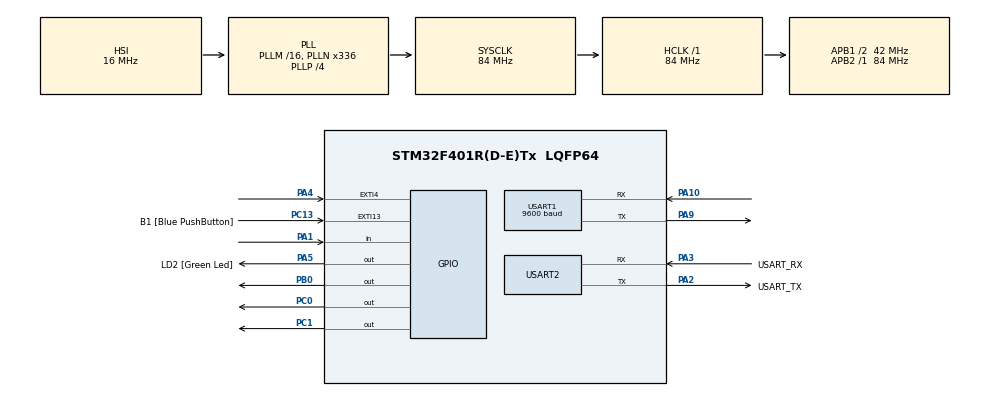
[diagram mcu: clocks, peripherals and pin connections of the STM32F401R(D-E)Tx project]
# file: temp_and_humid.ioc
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Mcu.Family=STM32F4
Mcu.Name=STM32F401R(D-E)Tx
Mcu.Package=LQFP64
NVIC.EXTI4_IRQn=true\:1\:0\:true\:false\:true\:true\:true\:true
NVIC.PriorityGroup=NVIC_PRIORITYGROUP_2
NVIC.USART1_IRQn=true\:2\:0\:true\:false\:true\:true\:true\:true
PA1.Signal=GPIO_Input
PA10.GPIO_Speed=GPIO_SPEED_FREQ_VERY_HIGH
PA10.Mode=Asynchronous
PA10.Signal=USART1_RX
PA13.GPIO_Label=TMS
PA13.Mode=Serial_Wire
PA13.Signal=SYS_JTMS-SWDIO
PA14.GPIO_Label=TCK
PA14.Mode=Serial_Wire
PA14.Signal=SYS_JTCK-SWCLK
PA2.GPIO_Label=USART_TX
PA2.GPIO_Mode=GPIO_MODE_AF_PP
PA2.GPIO_PuPd=GPIO_NOPULL
PA2.GPIO_Speed=GPIO_SPEED_FREQ_LOW
PA2.Mode=Asynchronous
PA2.Signal=USART2_TX
PA3.GPIO_Label=USART_RX
PA3.GPIO_Mode=GPIO_MODE_AF_PP
PA3.GPIO_PuPd=GPIO_NOPULL
PA3.GPIO_Speed=GPIO_SPEED_FREQ_LOW
PA3.Mode=Asynchronous
PA3.Signal=USART2_RX
PA4.Signal=GPXTI4
PA5.GPIO_Label=LD2 [Green Led]
PA5.GPIO_Mode=GPIO_MODE_OUTPUT_PP
PA5.GPIO_PuPd=GPIO_NOPULL
PA5.GPIO_Speed=GPIO_SPEED_FREQ_LOW
PA5.Signal=GPIO_Output
PA9.GPIO_Speed=GPIO_SPEED_FREQ_LOW
PA9.Mode=Asynchronous
PA9.Signal=USART1_TX
PB0.Signal=GPIO_Output
PB3.GPIO_Label=SWO
PB3.Signal=SYS_JTDO-SWO
PC0.Signal=GPIO_Output
PC1.Signal=GPIO_Output
PC13-ANTI_TAMP.GPIO_Label=B1 [Blue PushButton]
PC13-ANTI_TAMP.GPIO_ModeDefaultEXTI=GPIO_MODE_IT_FALLING
PC13-ANTI_TAMP.GPIO_PuPd=GPIO_NOPULL
PC13-ANTI_TAMP.Signal=GPXTI13
PC14-OSC32_IN.Mode=LSE-External-Oscillator
PC14-OSC32_IN.Signal=RCC_OSC32_IN
PC15-OSC32_OUT.Mode=LSE-External-Oscillator
PC15-OSC32_OUT.Signal=RCC_OSC32_OUT
PH0\ -\ OSC_IN.Mode=HSE-External-Clock-Source
PH0\ -\ OSC_IN.Signal=RCC_OSC_IN
PH1\ -\ OSC_OUT.Mode=HSE-External-Clock-Source
PH1\ -\ OSC_OUT.Signal=RCC_OSC_OUT
ProjectManager.HeapSize=0x200
ProjectManager.StackSize=0x400
ProjectManager.TargetToolchain=STM32CubeIDE
RCC.48MHZClocksFreq_Value=48000000
RCC.AHBFreq_Value=84000000
RCC.APB1CLKDivider=RCC_HCLK_DIV2
RCC.APB1Freq_Value=42000000
RCC.APB1TimFreq_Value=84000000
RCC.APB2Freq_Value=84000000
RCC.APB2TimFreq_Value=84000000
RCC.CortexFreq_Value=84000000
RCC.HCLKFreq_Value=84000000
RCC.HSE_VALUE=8000000
RCC.HSI_VALUE=16000000
RCC.PLLN=336
RCC.PLLP=RCC_PLLP_DIV4
RCC.PLLQ=7
RCC.SYSCLKFreq_VALUE=84000000
RCC.SYSCLKSource=RCC_SYSCLKSOURCE_PLLCLK
RCC.VCOOutputFreq_Value=336000000
TIM3.AutoReloadPreload=TIM_AUTORELOAD_PRELOAD_ENABLE
TIM3.Prescaler=83
USART1.BaudRate=9600
USART1.VirtualMode=VM_ASYNC
USART2.VirtualMode=VM_ASYNC
VP_TIM3_VS_ClockSourceINT.Mode=Internal
board=NUCLEO-F401RE

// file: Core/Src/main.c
/* USER CODE BEGIN Header */
/**
  ******************************************************************************
  * @file           : main.c
  * @brief          : Main program body
  ******************************************************************************
  * @attention
  *
  * Copyright (c) 2023 STMicroelectronics.
  * All rights reserved.
  *
  * This software is licensed under terms that can be found in the LICENSE file
  * in the root directory of this software component.
  * If no LICENSE file comes with this software, it is provided AS-IS.
  *
  ******************************************************************************
  */
/* USER CODE END Header */
#include "main.h"

TIM_HandleTypeDef htim3;

UART_HandleTypeDef huart1;
UART_HandleTypeDef huart2;

void SystemClock_Config(void);
static void MX_GPIO_Init(void);
static void MX_USART2_UART_Init(void);
static void MX_TIM3_Init(void);
static void MX_USART1_UART_Init(void);

/* USER CODE BEGIN 0 */
float Water = 0.0;
char uart_buf[50];
uint8_t drank_water_bit;

uint8_t drank_arr[20];
uint8_t dw;
uint8_t i;
uint8_t out = 0;
void HAL_UART_RxCpltCallback(UART_HandleTypeDef *huart)
{
  /* Prevent unused argument(s) compilation warning */
//  UNUSED(huart);

  /* NOTE: This function should not be modified, when the callback is needed,
           the HAL_UART_RxCpltCallback could be implemented in the user file
   */
	//HAL_GPIO_TogglePin(GPIOA, GPIO_PIN_5);
	//HAL_UART_Transmit(huart&2, drank_water, sizeof(drank_water),100);
	HAL_UART_Receive_IT(huart, &drank_water_bit, sizeof(drank_water_bit));

	if(drank_water_bit == '-'){
		out = 1;
		Water = 0;
		HAL_GPIO_WritePin(GPIOB, GPIO_PIN_0, 0);
		HAL_GPIO_WritePin(GPIOC, GPIO_PIN_1, 0);
		HAL_GPIO_WritePin(GPIOC, GPIO_PIN_0, 1);
	}
	if(drank_water_bit != '/'){
		if(out == 0){
			HAL_GPIO_WritePin(GPIOC, GPIO_PIN_0, 0);
			HAL_GPIO_WritePin(GPIOC, GPIO_PIN_1, 1);
			drank_arr[i] = drank_water_bit;
			i++;
		}
	}else{
		if(out == 0){
			i--;
			uint8_t p=0;
			while(i>=0 && drank_arr[i]<='9' && drank_arr[i] >= '0'){
				dw += (drank_arr[i]-'0') * pow(10,p);
				p++;
				i--;
			}
			if(i==0 && drank_arr[i] == '-'){
				dw *= -1;
			}
			i = 0;
		}else{
			out = 0;
		}
	}

}

char msg[20];
int adcval;
void delay (uint16_t time)
{
    /* change your code here for the delay in microseconds */
    __HAL_TIM_SET_COUNTER(&htim3, 0);
    while ((__HAL_TIM_GET_COUNTER(&htim3))<time);
}

uint8_t Rh_byte1, Rh_byte2, Temp_byte1, Temp_byte2;
uint16_t SUM, RH, TEMP;

float Temperature;
float Humidity;
float PreviousWater;

uint8_t Presence = 0,timechk=0;
void Set_Pin_Output (GPIO_TypeDef* GPIOx, uint16_t GPIO_Pin)
{
    GPIO_InitTypeDef GPIO_InitStruct = {0};
    GPIO_InitStruct.Pin = GPIO_Pin;
    GPIO_InitStruct.Mode = GPIO_MODE_OUTPUT_PP;
    GPIO_InitStruct.Speed = GPIO_SPEED_FREQ_LOW;
    HAL_GPIO_Init(GPIOx, &GPIO_InitStruct);
}

void Set_Pin_Input (GPIO_TypeDef* GPIOx, uint16_t GPIO_Pin)
{
    GPIO_InitTypeDef GPIO_InitStruct = {0};
    GPIO_InitStruct.Pin = GPIO_Pin;
    GPIO_InitStruct.Mode = GPIO_MODE_INPUT;
    GPIO_InitStruct.Pull = GPIO_PULLUP;
    HAL_GPIO_Init(GPIOx, &GPIO_InitStruct);
}
void DHT11_Start (GPIO_TypeDef* GPIOx, uint16_t GPIO_Pin)
{
    Set_Pin_Output (GPIOx, GPIO_Pin);  // set the pin as output
    HAL_GPIO_WritePin (GPIOx, GPIO_Pin, 0);   // pull the pin low
    delay (18000);   // wait for 18ms
    HAL_GPIO_WritePin (GPIOx, GPIO_Pin, 1);   // pull the pin high
    delay (20);   // wait for 20us
    Set_Pin_Input(GPIOx, GPIO_Pin);    // set as input
}
uint8_t DHT11_Check_Response (GPIO_TypeDef* GPIOx, uint16_t GPIO_Pin)
{
    uint8_t Response = 0;
    delay (40);
    if (!(HAL_GPIO_ReadPin (GPIOx, GPIO_Pin)))
    {
        delay (80);
        if ((HAL_GPIO_ReadPin (GPIOx, GPIO_Pin))) Response = 1;
        else Response = -1; // 255
    }
    while ((HAL_GPIO_ReadPin (GPIOx, GPIO_Pin)));   // wait for the pin to go low

    return Response;
}

uint8_t DHT11_Read (GPIO_TypeDef *GPIOx, uint16_t GPIO_Pin)
{
    uint8_t i,j;
    for (j=0;j<8;j++)
    {
        while (!(HAL_GPIO_ReadPin (GPIOx, GPIO_Pin)));   // wait for the pin to go high
        delay (40);   // wait for 40 us
        if (!(HAL_GPIO_ReadPin (GPIOx, GPIO_Pin)))   // if the pin is low
        {
            i&= ~(1<<(7-j));   // write 0
        }
        else i|= (1<<(7-j));  // if the pin is high, write 1
        while ((HAL_GPIO_ReadPin (GPIOx, GPIO_Pin)));  // wait for the pin to go low
    }
    return i;
}

//water sensor
long count = 0;

uint8_t rp;
void HAL_GPIO_EXTI_Callback(uint16_t GPIO_Pin)
{
  /* Prevent unused argument(s) compilation warning */
//  UNUSED(GPIO_Pin);
  /* NOTE: This function Should not be modified, when the callback is needed,
           the HAL_GPIO_EXTI_Callback could be implemented in the user file
   */
    count += 1;
//  HAL_UART_Transmit(&huart2, "1", 1, 100);
//    char uart_buf2[50];
//	  int uart_buf_len2;
//	  uart_buf_len2 = sprintf(uart_buf2, "count: %ld",count);
	  //HAL_UART_Transmit(&huart2, (uint8_t *)uart_buf2, uart_buf_len2, 100);

	  if(count >= 5*dw && dw != 0){

		  HAL_GPIO_WritePin(GPIOC, GPIO_PIN_1, 0);
		  HAL_GPIO_WritePin(GPIOB, GPIO_PIN_0, 1);
		  dw = 0;
		  Water = 1;
		  //HAL_Delay(1000);
		  count = 0;
	  }
}
/* USER CODE END 0 */

int main(void)
{

  /* MCU Configuration--------------------------------------------------------*/

  /* Reset of all peripherals, Initializes the Flash interface and the Systick. */
  HAL_Init();

  /* Configure the system clock */
  SystemClock_Config();

  /* Initialize all configured peripherals */
  MX_GPIO_Init();
  MX_USART2_UART_Init();
  MX_TIM3_Init();
  MX_USART1_UART_Init();
  /* USER CODE BEGIN 2 */
  HAL_TIM_Base_Start_IT(&htim3);

  	int j=0;
	for(j=0;j<20;j++){
	  drank_arr[i] = 0;
	}
	dw=0;
	i=0;
	count = 0;
  HAL_UART_Receive_IT(&huart1, &drank_water_bit, sizeof(drank_water_bit));

  /* USER CODE END 2 */

  /* Infinite loop */
  while (1)
  {

    /* USER CODE BEGIN 3 */
	  HAL_GPIO_TogglePin(GPIOA, GPIO_PIN_5);
	  DHT11_Start(GPIOA, GPIO_PIN_1);
	      Presence = DHT11_Check_Response(GPIOA, GPIO_PIN_1);
	      Rh_byte1 = DHT11_Read (GPIOA, GPIO_PIN_1);
	      Rh_byte2 = DHT11_Read (GPIOA, GPIO_PIN_1);
	      Temp_byte1 = DHT11_Read (GPIOA, GPIO_PIN_1);
	      Temp_byte2 = DHT11_Read (GPIOA, GPIO_PIN_1);
	      SUM = DHT11_Read(GPIOA, GPIO_PIN_1);

	      TEMP = Temp_byte1;
	      RH = Rh_byte1;

	      Temperature = (float) TEMP;
	      Humidity = (float) RH;
	      HAL_Delay(700);

	      //char uart_buf[50];
		  int uart_buf_len;
		  uart_buf_len = sprintf(uart_buf, "B%d/%d/%d/P",(uint8_t)Temperature,(uint8_t)Humidity,(uint8_t)Water);
		  HAL_UART_Transmit(&huart1, (uint8_t *)uart_buf, uart_buf_len, 100);
		  HAL_Delay(1300);

		  if(Water == 1){
			  Water = 0;
		  }

//		  while(HAL_UART_Receive(&huart1, &drank_water, sizeof(drank_water), 100) == HAL_OK){
//			  HAL_UART_Transmit(&huart2, &drank_water, sizeof(drank_water), 100);
//			  HAL_GPIO_TogglePin(GPIOA, GPIO_PIN_5);
//		  }

  }
  /* USER CODE END 3 */
}

void SystemClock_Config(void)
{
  RCC_OscInitTypeDef RCC_OscInitStruct = {0};
  RCC_ClkInitTypeDef RCC_ClkInitStruct = {0};

  /** Configure the main internal regulator output voltage
  */
  __HAL_RCC_PWR_CLK_ENABLE();
  __HAL_PWR_VOLTAGESCALING_CONFIG(PWR_REGULATOR_VOLTAGE_SCALE2);

  /** Initializes the RCC Oscillators according to the specified parameters
  * in the RCC_OscInitTypeDef structure.
  */
  RCC_OscInitStruct.OscillatorType = RCC_OSCILLATORTYPE_HSI;
  RCC_OscInitStruct.HSIState = RCC_HSI_ON;
  RCC_OscInitStruct.HSICalibrationValue = RCC_HSICALIBRATION_DEFAULT;
  RCC_OscInitStruct.PLL.PLLState = RCC_PLL_ON;
  RCC_OscInitStruct.PLL.PLLSource = RCC_PLLSOURCE_HSI;
  RCC_OscInitStruct.PLL.PLLM = 16;
  RCC_OscInitStruct.PLL.PLLN = 336;
  RCC_OscInitStruct.PLL.PLLP = RCC_PLLP_DIV4;
  RCC_OscInitStruct.PLL.PLLQ = 7;
  if (HAL_RCC_OscConfig(&RCC_OscInitStruct) != HAL_OK)
  {
    Error_Handler();
  }

  /** Initializes the CPU, AHB and APB buses clocks
  */
  RCC_ClkInitStruct.ClockType = RCC_CLOCKTYPE_HCLK|RCC_CLOCKTYPE_SYSCLK
                              |RCC_CLOCKTYPE_PCLK1|RCC_CLOCKTYPE_PCLK2;
  RCC_ClkInitStruct.SYSCLKSource = RCC_SYSCLKSOURCE_PLLCLK;
  RCC_ClkInitStruct.AHBCLKDivider = RCC_SYSCLK_DIV1;
  RCC_ClkInitStruct.APB1CLKDivider = RCC_HCLK_DIV2;
  RCC_ClkInitStruct.APB2CLKDivider = RCC_HCLK_DIV1;

  if (HAL_RCC_ClockConfig(&RCC_ClkInitStruct, FLASH_LATENCY_2) != HAL_OK)
  {
    Error_Handler();
  }
}

static void MX_TIM3_Init(void)
{

  TIM_ClockConfigTypeDef sClockSourceConfig = {0};
  TIM_MasterConfigTypeDef sMasterConfig = {0};

  htim3.Instance = TIM3;
  htim3.Init.Prescaler = 83;
  htim3.Init.CounterMode = TIM_COUNTERMODE_UP;
  htim3.Init.Period = 65535;
  htim3.Init.ClockDivision = TIM_CLOCKDIVISION_DIV1;
  htim3.Init.AutoReloadPreload = TIM_AUTORELOAD_PRELOAD_ENABLE;
  if (HAL_TIM_Base_Init(&htim3) != HAL_OK)
  {
    Error_Handler();
  }
  sClockSourceConfig.ClockSource = TIM_CLOCKSOURCE_INTERNAL;
  if (HAL_TIM_ConfigClockSource(&htim3, &sClockSourceConfig) != HAL_OK)
  {
    Error_Handler();
  }
  sMasterConfig.MasterOutputTrigger = TIM_TRGO_RESET;
  sMasterConfig.MasterSlaveMode = TIM_MASTERSLAVEMODE_DISABLE;
  if (HAL_TIMEx_MasterConfigSynchronization(&htim3, &sMasterConfig) != HAL_OK)
  {
    Error_Handler();
  }

}

static void MX_USART1_UART_Init(void)
{

  huart1.Instance = USART1;
  huart1.Init.BaudRate = 9600;
  huart1.Init.WordLength = UART_WORDLENGTH_8B;
  huart1.Init.StopBits = UART_STOPBITS_1;
  huart1.Init.Parity = UART_PARITY_NONE;
  huart1.Init.Mode = UART_MODE_TX_RX;
  huart1.Init.HwFlowCtl = UART_HWCONTROL_NONE;
  huart1.Init.OverSampling = UART_OVERSAMPLING_16;
  if (HAL_UART_Init(&huart1) != HAL_OK)
  {
    Error_Handler();
  }

}

static void MX_USART2_UART_Init(void)
{

  huart2.Instance = USART2;
  huart2.Init.BaudRate = 115200;
  huart2.Init.WordLength = UART_WORDLENGTH_8B;
  huart2.Init.StopBits = UART_STOPBITS_1;
  huart2.Init.Parity = UART_PARITY_NONE;
  huart2.Init.Mode = UART_MODE_TX_RX;
  huart2.Init.HwFlowCtl = UART_HWCONTROL_NONE;
  huart2.Init.OverSampling = UART_OVERSAMPLING_16;
  if (HAL_UART_Init(&huart2) != HAL_OK)
  {
    Error_Handler();
  }

}

static void MX_GPIO_Init(void)
{
  GPIO_InitTypeDef GPIO_InitStruct = {0};

  /* GPIO Ports Clock Enable */
  __HAL_RCC_GPIOC_CLK_ENABLE();
  __HAL_RCC_GPIOH_CLK_ENABLE();
  __HAL_RCC_GPIOA_CLK_ENABLE();
  __HAL_RCC_GPIOB_CLK_ENABLE();

  /*Configure GPIO pin Output Level */
  HAL_GPIO_WritePin(GPIOC, GPIO_PIN_0|GPIO_PIN_1, GPIO_PIN_RESET);

  /*Configure GPIO pin Output Level */
  HAL_GPIO_WritePin(LD2_GPIO_Port, LD2_Pin, GPIO_PIN_RESET);

  /*Configure GPIO pin Output Level */
  HAL_GPIO_WritePin(GPIOB, GPIO_PIN_0, GPIO_PIN_RESET);

  /*Configure GPIO pin : B1_Pin */
  GPIO_InitStruct.Pin = B1_Pin;
  GPIO_InitStruct.Mode = GPIO_MODE_IT_FALLING;
  GPIO_InitStruct.Pull = GPIO_NOPULL;
  HAL_GPIO_Init(B1_GPIO_Port, &GPIO_InitStruct);

  /*Configure GPIO pins : PC0 PC1 */
  GPIO_InitStruct.Pin = GPIO_PIN_0|GPIO_PIN_1;
  GPIO_InitStruct.Mode = GPIO_MODE_OUTPUT_PP;
  GPIO_InitStruct.Pull = GPIO_NOPULL;
  GPIO_InitStruct.Speed = GPIO_SPEED_FREQ_LOW;
  HAL_GPIO_Init(GPIOC, &GPIO_InitStruct);

  /*Configure GPIO pin : PA1 */
  GPIO_InitStruct.Pin = GPIO_PIN_1;
  GPIO_InitStruct.Mode = GPIO_MODE_INPUT;
  GPIO_InitStruct.Pull = GPIO_NOPULL;
  HAL_GPIO_Init(GPIOA, &GPIO_InitStruct);

  /*Configure GPIO pin : PA4 */
  GPIO_InitStruct.Pin = GPIO_PIN_4;
  GPIO_InitStruct.Mode = GPIO_MODE_IT_RISING;
  GPIO_InitStruct.Pull = GPIO_NOPULL;
  HAL_GPIO_Init(GPIOA, &GPIO_InitStruct);

  /*Configure GPIO pin : LD2_Pin */
  GPIO_InitStruct.Pin = LD2_Pin;
  GPIO_InitStruct.Mode = GPIO_MODE_OUTPUT_PP;
  GPIO_InitStruct.Pull = GPIO_NOPULL;
  GPIO_InitStruct.Speed = GPIO_SPEED_FREQ_LOW;
  HAL_GPIO_Init(LD2_GPIO_Port, &GPIO_InitStruct);

  /*Configure GPIO pin : PB0 */
  GPIO_InitStruct.Pin = GPIO_PIN_0;
  GPIO_InitStruct.Mode = GPIO_MODE_OUTPUT_PP;
  GPIO_InitStruct.Pull = GPIO_NOPULL;
  GPIO_InitStruct.Speed = GPIO_SPEED_FREQ_LOW;
  HAL_GPIO_Init(GPIOB, &GPIO_InitStruct);

  /* EXTI interrupt init*/
  HAL_NVIC_SetPriority(EXTI4_IRQn, 1, 0);
  HAL_NVIC_EnableIRQ(EXTI4_IRQn);

}

void Error_Handler(void)
{
  __disable_irq();
  while (1)
  {
  }
}
